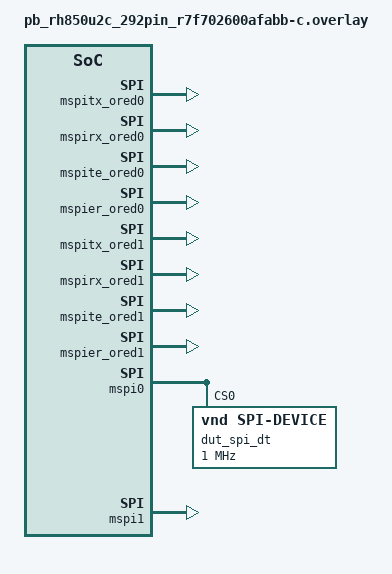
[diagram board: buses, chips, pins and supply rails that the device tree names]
/*
 * Copyright (c) 2026 Renesas Electronics Corporation
 * SPDX-License-Identifier: Apache-2.0
 */

#include <dt-bindings/pinctrl/renesas/pinctrl-rh850u2c.h>

&pinctrl {
	mspi0_default: mspi0_default {
		group1 {
			psels = <RH850_PSEL(PORT_06, 6, ALT_IN2)>,
				<RH850_PSEL(PORT_06, 7, ALT_OUT1)>;
			drive-strength = "medium";
			renesas,direct-control;
		};

		group2 {
			psels = <RH850_PSEL(PORT_06, 5, ALT_IN1)>,
				<RH850_PSEL(PORT_06, 9, ALT_OUT1)>;
			drive-strength = "medium";
		};
	};

	mspi1_default: mspi1_default {
		group1 {
			psels = <RH850_PSEL(PORT_02, 3, ALT_IN1)>,
				<RH850_PSEL(PORT_02, 5, ALT_OUT1)>;
			drive-strength = "medium";
			renesas,direct-control;
		};

		group2 {
			psels = <RH850_PSEL(PORT_02, 2, ALT_IN1)>,
				<RH850_PSEL(PORT_02, 4, ALT_IN1)>;
			drive-strength = "medium";
		};
	};
};

&mspitx_ored0 {
	interrupts = <88 11>;
	status = "okay";
};

&mspirx_ored0 {
	interrupts = <89 12>;
	status = "okay";
};

&mspite_ored0 {
	interrupts = <90 13>;
	status = "okay";
};

&mspier_ored0 {
	interrupts = <91 15>;
	status = "okay";
};

&mspitx_ored1 {
	interrupts = <92 8>;
	status = "okay";
};

&mspirx_ored1 {
	interrupts = <93 7>;
	status = "okay";
};

&mspite_ored1 {
	interrupts = <94 10>;
	status = "okay";
};

&mspier_ored1 {
	interrupts = <95 15>;
	status = "okay";
};

&mspi0 {
	interrupts-extended = <&mspitx_ored0>,
			      <&mspirx_ored0>,
			      <&mspite_ored0>,
			      <&mspier_ored0>;
	status = "okay";
	pinctrl-0 = <&mspi0_default>;
	pinctrl-names = "default";

	dut_spi_dt: test-spi-dev@0 {
		compatible = "vnd,spi-device";
		reg = <0>;
		spi-max-frequency = <1000000>;
	};
};

dut_spis: &mspi1 {
	interrupts-extended = <&mspitx_ored1>,
			      <&mspirx_ored1>,
			      <&mspite_ored1>,
			      <&mspier_ored1>;
	status = "okay";
	pinctrl-0 = <&mspi1_default>;
	pinctrl-names = "default";
};
